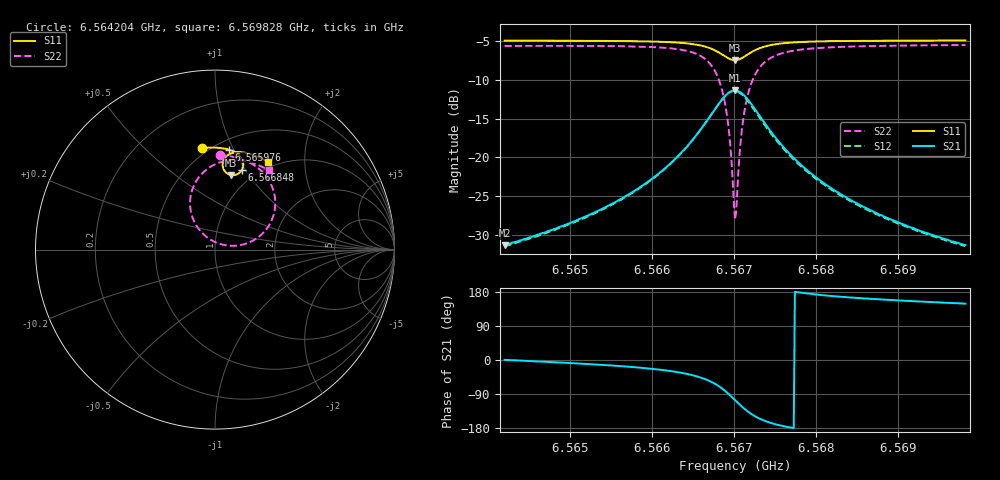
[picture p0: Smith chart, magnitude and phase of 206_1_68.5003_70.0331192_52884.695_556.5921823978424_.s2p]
#  HZ  S  RI  R  50.00
! Rohde & Schwarz Vector Network Analyzer
! Rohde-Schwarz,ZNB20-2Port,1311601062101988,3.16
! Created: UTC 3/20/2024, 4:57:49 PM
! freq[Hz]  re:S11  im:S11  re:S21  im:S21  re:S12  im:S12  re:S22  im:S22
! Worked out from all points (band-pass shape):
!   401 points, 6.564204 GHz to 6.569828 GHz, reference 50 ohm
!   highest |S21| = -11.33 dB at 6.567016 GHz (marker M1); lowest = -31.4 dB at 6.564204 GHz (marker M2)
!   |S21| within 3 dB of the highest: 6.566734 GHz to 6.567297 GHz (562.5 kHz wide, 0.00857 % of centre)
!   lowest |S11| = -7.4 dB at 6.567016 GHz (marker M3), VSWR 2.48, Z = 40.7 + j41.4 ohm
!   |S11| at or under -10 dB: nowhere
!   |S22| runs from -28.0 to -5.5 dB; largest |S21 - S12| = 0.013
!   S11 on the Smith chart (normalised r, x): 6.564204 GHz: 0.46, +0.77; 6.565976 GHz: 0.59, +0.96; 6.566848 GHz: 0.85, +0.96; 6.569828 GHz: 0.92, +1.33
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6.5642044e9  -0.0743 0.5643  0.027 0.000225  0.0267 -0.000228  0.0257 0.5259
6.5651464e9  0.00236 0.5681  0.0399 -0.00688  0.0391 -0.00737  0.1133 0.5142
6.5659759e9  0.0784 0.5571  0.0655 -0.0273  0.0644 -0.0281  0.2167 0.4708
6.5660884e9  0.0901 0.553  0.0713 -0.0337  0.0701 -0.0346  0.2352 0.4579
6.5663977e9  0.1249 0.5344  0.0918 -0.065  0.0903 -0.0663  0.2939 0.396
6.5666227e9  0.1505 0.5042  0.1054 -0.1177  0.103 -0.1199  0.3333 0.2943
6.5667492e9  0.1576 0.474  0.0983 -0.1706  0.0939 -0.1737  0.3264 0.1931
6.5668476e9  0.1493 0.4434  0.0665 -0.223  0.0591 -0.2259  0.2702 0.095
6.5668898e9  0.1394 0.4306  0.041 -0.244  0.032 -0.2459  0.2235 0.057
6.566932e9  0.1249 0.4205  0.00782 -0.2597  -0.0028 -0.2597  0.1626 0.0299
6.5669601e9  0.1133 0.4163  -0.018 -0.2653  -0.0292 -0.2636  0.1161 0.0217
6.5670023e9  0.0941 0.4149  -0.0592 -0.2642  -0.0705 -0.2596  0.043 0.0276
6.5670163e9  0.0876 0.416  -0.0729 -0.2612  -0.0839 -0.2555  0.0193 0.0346
6.5670445e9  0.0754 0.4202  -0.099 -0.251  -0.1091 -0.2434  -0.0253 0.0557
6.5670866e9  0.0598 0.4311  -0.132 -0.2274  -0.1399 -0.2178  -0.0796 0.1011
6.5671288e9  0.049 0.4457  -0.1557 -0.1978  -0.1609 -0.1871  -0.1159 0.1562
6.567185e9  0.0429 0.4667  -0.1723 -0.1563  -0.1741 -0.1456  -0.1375 0.2307
6.5672553e9  0.0453 0.4901  -0.1746 -0.1105  -0.1739 -0.1015  -0.1331 0.3107
6.5675084e9  0.0836 0.5332  -0.1324 -0.0245  -0.1295 -0.0206  -0.0368 0.4538
6.5679583e9  0.1441 0.5426  -0.0772 0.00813  -0.0755 0.00944  0.091 0.4985
6.5689003e9  0.2302 0.5208  -0.0373 0.0147  -0.0364 0.0149  0.2206 0.4793
6.5698282e9  0.298 0.4871  -0.0231 0.0142  -0.0226 0.0142  0.2998 0.4413
